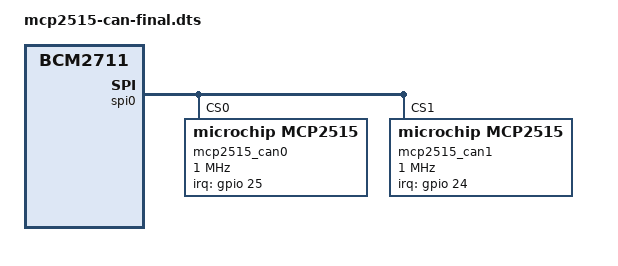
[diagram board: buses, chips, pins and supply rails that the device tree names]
/dts-v1/;
/plugin/;

/ {
    compatible = "brcm,bcm2711";

    fragment@0 {
        target = <&spi0>;
        __overlay__ {
            status = "okay";
            #address-cells = <1>;
            #size-cells = <0>;

            mcp2515_can0: mcp2515@0 {
                compatible = "microchip,mcp2515";
                reg = <0>;
                clocks = <&mcp2515_osc0>;
                interrupt-parent = <&gpio>;
                interrupts = <25 0x8>; /* GPIO 25, IRQ_TYPE_LEVEL_LOW (0x8) */
                spi-max-frequency = <1000000>; /* 1 MHz */
                status = "okay";

                mcp2515_osc0: can0_osc {
                    compatible = "fixed-clock";
                    #clock-cells = <0>;
                    clock-frequency = <16000000>;
                };
            };

            mcp2515_can1: mcp2515@1 {
                compatible = "microchip,mcp2515";
                reg = <1>;
                clocks = <&mcp2515_osc1>;
                interrupt-parent = <&gpio>;
                interrupts = <24 0x8>; /* GPIO 24, IRQ_TYPE_LEVEL_LOW (0x8) */
                spi-max-frequency = <1000000>; /* 1 MHz */
                status = "okay";

                mcp2515_osc1: can1_osc {
                    compatible = "fixed-clock";
                    #clock-cells = <0>;
                    clock-frequency = <16000000>;
                };
            };
        };
    };

    /* Disable the default SPI devices */
    fragment@1 {
        target = <&spidev0>;
        __overlay__ {
            status = "disabled";
        };
    };

    fragment@2 {
        target = <&spidev1>;
        __overlay__ {
            status = "disabled";
        };
    };

    /* Enable SPI0 */
    fragment@3 {
        target = <&spi0_cs_pins>;
        __overlay__ {
            brcm,pins = <8 7>; /* GPIO 8 (CE0) and GPIO 7 (CE1) */
            brcm,function = <1>; /* ALT0 (SPI) */
        };
    };

    fragment@4 {
        target = <&spi0_pins>;
        __overlay__ {
            brcm,pins = <10 9 11>;
            brcm,function = <4>; /* ALT0 (SPI) */
        };
    };
};
